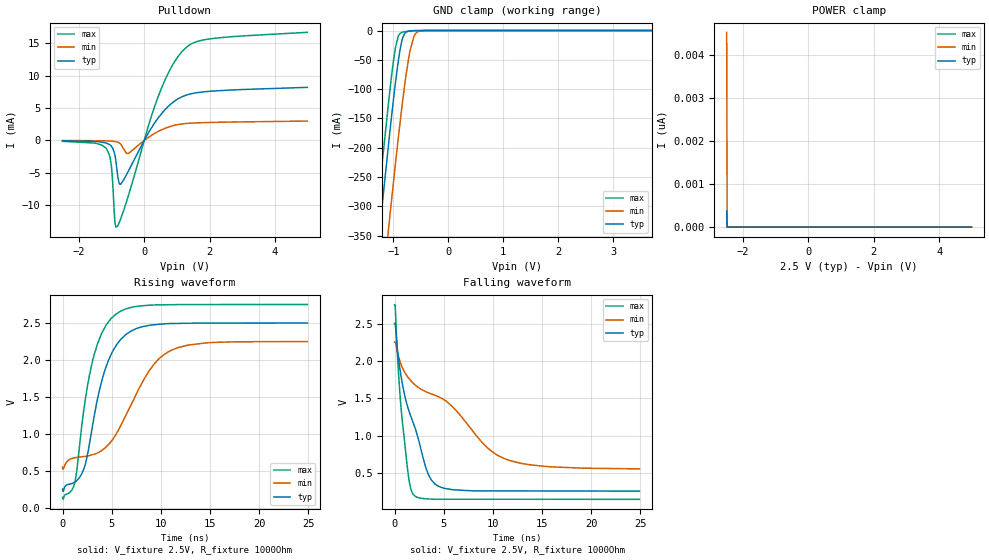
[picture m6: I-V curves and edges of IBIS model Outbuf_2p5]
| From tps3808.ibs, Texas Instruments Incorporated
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|   Model Outbuf_2p5 open-drain output buffer
[Model]   Outbuf_2p5
Model_type   Open_drain
Polarity   Inverting
Vmeas = 1.25
Vref = 2.5
Cref = 0pF
Rref = 1000
|   typ   min   max
|   (nom PVT)   (fast PVT)   (slow PVT)
C_comp   10.28p   10.16p   10.96p
|C_comp (ON state)   10.28p   10.16p   10.96p
|C_comp (OFF state)   9.77p   9.64p   10.28p
| Where   nom PVT is  Nominal Process, 2.5V, 27C
|   Fast PVT is Strong Process, 2.75V, -40C
|   Slow PVT is Weak Process, 2.25V, 125C
[Voltage Range]   2.5   2.25   2.75
[Temperature Range]   27   150   -40
[Pullup Reference]   2.5   2.25   2.75
[Pulldown Reference]   -0   -0   -0
[Power Clamp Reference]   2.5   2.25   2.75
[GND Clamp Reference]   -0   -0   -0
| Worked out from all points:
|   slope of the pulldown table from 0 to 0.375 V, typ, clamps not added: 121 ohm
|   GND clamp passes 1 mA (typ) near -0.72 V on its own axis
|   falling waveform, V_fixture 2.5V, R_fixture 1000Ohm: 20-80 % time 2.51ns typ, 8.23ns min, 988ps max; typ from 2.5 V to 0.257 V
|   rising waveform, V_fixture 2.5V, R_fixture 1000Ohm: 20-80 % time 2.36ns typ, 4.22ns min, 2ns max; typ from 0.257 V to 2.5 V
[Pulldown]
|   Voltage   I(typ)   I(min)   I(max)
-2.5V     -52.14uA   -13.39uA   -132uA
-1.157V   -408.6uA   -67.11uA   -1.252mA
-1.008V   -870.5uA   -104.7uA   -3.839mA
-902.5mV  -2.138mA   -161.2uA   -12.14mA
-865mV    -3.255mA   -195.5uA   -13.38mA
-767.5mV  -6.598mA   -372uA     -12.7mA
-715mV    -6.732mA   -585.4uA   -12.04mA
-482.5mV  -4.705mA   -1.978mA   -8.493mA
425mV     3.452mA    1.379mA    6.732mA
1.16V     6.755mA    2.556mA    13.74mA
2V        7.585mA    2.776mA    15.67mA
4.992V    8.198mA    2.992mA    16.7mA
[GND Clamp]
|   Voltage   I(typ)   I(min)   I(max)
-2.5V     -1.552A    -1.691A    -1.484A
-1.465V   -543.9mA   -689.4mA   -472mA
-1.3V     -387.8mA   -533.8mA   -315.3mA
-1.202V   -297.3mA   -443.1mA   -224.8mA
-1.067V   -176.1mA   -320.1mA   -105.8mA
-962.5mV  -89.32mA   -227.7mA   -29.69mA
-910mV    -51.72mA   -183.3mA   -9.489mA
-842.5mV  -16.55mA   -128.9mA   -3.15mA
-700mV    -563.4uA   -35.4mA    -836.1uA
-625mV    -184.3uA   -9.963mA   -359.7uA
-520mV    -59.29uA   -886.2uA   -138.9uA
4.992V    0A         0A         0A
[POWER Clamp]
|   Voltage   I(typ)   I(min)   I(max)
-2.5V     376.1pA    4.527nA    268.3pA
-2.485V   0A         0A         0A
-2.478V   0A         0A         0A
4.992V    0A         0A         0A
[Ramp]
R_load = 1000
|   typ   min   max
dV/dt_r   1.3457/2.35572e-09   1.01824/4.21628e-09   1.56166/1.99786e-09
dV/dt_f   1.3457/2.51056e-09   1.01702/8.23298e-09   1.56166/9.88619e-10
[Falling Waveform]
V_fixture = 2.5V
V_fixture_min = 2.25V
V_fixture_max = 2.75V
R_fixture = 1000Ohm
C_fixture = 0F
|   Time   V(typ)   V(min)   V(max)
0s        2.5V       2.25V      2.75V
74.15ps   2.489V     2.254V     2.705V
469.1ps   1.959V     2.026V     1.695V
783.7ps   1.697V     1.91V      1.196V
1.477ns   1.322V     1.761V     392.1mV
2.043ns   1.116V     1.683V     192.5mV
3.462ns   471mV      1.572V     152.6mV
5.102ns   293.1mV    1.472V     148.6mV
11.3ns    260mV      685.5mV    148.2mV
24.9ns    257.2mV    555mV      147.2mV
[Rising Waveform]
V_fixture = 2.5V
V_fixture_min = 2.25V
V_fixture_max = 2.75V
R_fixture = 1000Ohm
C_fixture = 0F
|   Time   V(typ)   V(min)   V(max)
0s        257.2mV    552.9mV    147.2mV
1.278ns   356.2mV    681.5mV    356.8mV
2.111ns   508.4mV    696.3mV    1.27V
2.732ns   861.2mV    709.8mV    1.79V
3.568ns   1.48V      746.7mV    2.223V
4.348ns   1.878V     814.8mV    2.451V
5.445ns   2.195V     998.7mV    2.621V
8.798ns   2.468V     1.852V     2.74V
10.8ns    2.492V     2.113V     2.747V
24.9ns    2.5V       2.25V      2.75V
